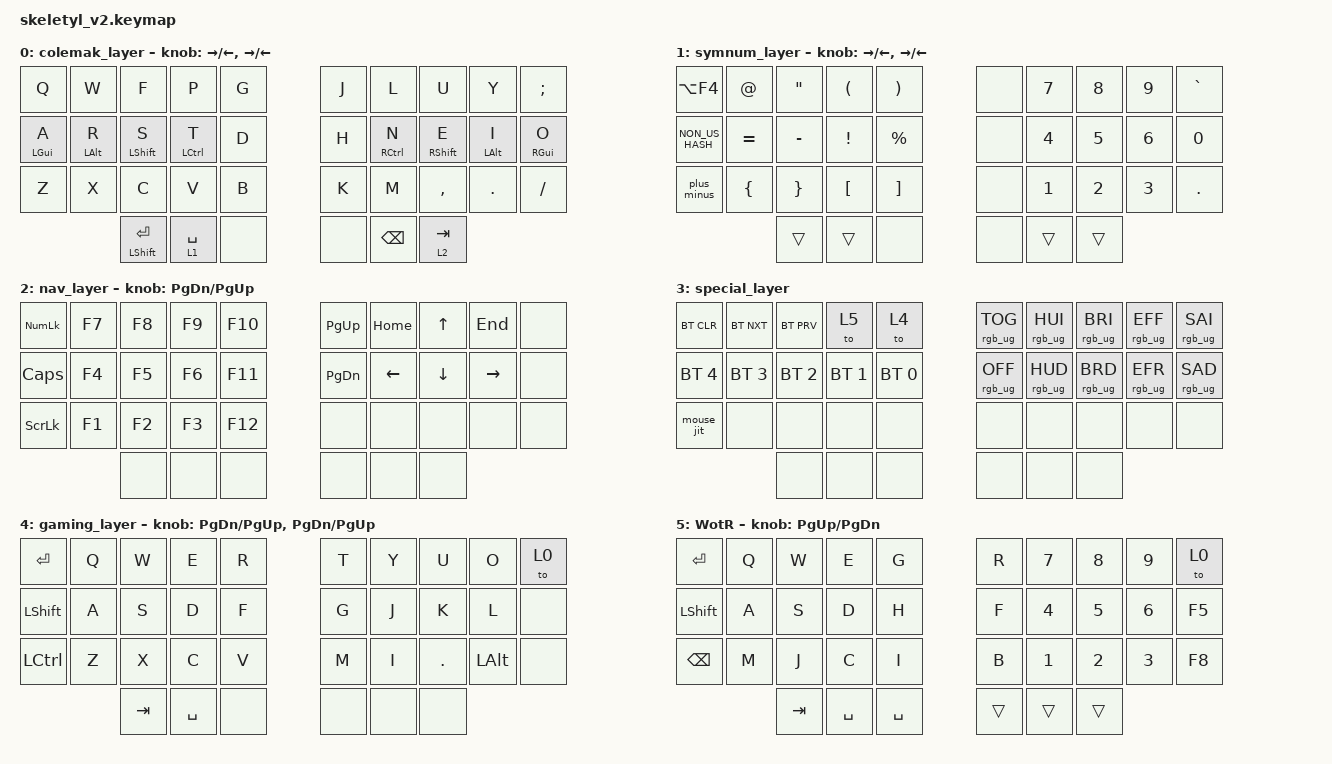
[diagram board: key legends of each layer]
/*
 * Copyright (c) 2020 The ZMK Contributors
 *
 * SPDX-License-Identifier: MIT
 */

#include <behaviors.dtsi>
#include <dt-bindings/zmk/bt.h>
#include <dt-bindings/zmk/keys.h>
#include <dt-bindings/zmk/rgb.h>

#define COLEMAK 0
#define SYMNUM 1
#define NAV 2
#define SPECIAL 3
#define GAMING 4

/ {
    combos {
        compatible = "zmk,combos";

        combo_esc {
            timeout-ms = <40>;
            key-positions = <1 2>;
            bindings = <&kp ESC>;
        };

        combo_underscore {
            timeout-ms = <35>;
            key-positions = <12 13>;
            bindings = <&kp UNDER>;
        };

        combo_quote {
            timeout-ms = <35>;
            key-positions = <17 18>;
            bindings = <&kp SQT>;
        };

        combo_del {
            timeout-ms = <40>;
            key-positions = <10 11>;
            bindings = <&kp DEL>;
        };

        combo_bslsh {
            timeout-ms = <40>;
            key-positions = <7 8>;
            bindings = <&kp NON_US_BSLH>;
        };

        combo_caps {
            timeout-ms = <40>;
            key-positions = <12 17>;
            bindings = <&caps_word>;
        };
    };
};

/ {
    chosen { zmk,battery = &vbatt; };

    vbatt: vbatt {
        compatible = "zmk,battery-nrf-vddh";
        label = "VBATT";
    };

    conditional_layers {
        compatible = "zmk,conditional-layers";

        tri_layer {
            if-layers = <1 2>;
            then-layer = <3>;
        };
    };

    behaviors {
        hm: homerow_mods {
            compatible = "zmk,behavior-hold-tap";
            label = "HOMEROW_MODS";
            #binding-cells = <2>;
            tapping-term-ms = <220>;
            quick-tap-ms = <125>;
            flavor = "tap-preferred";
            bindings = <&kp>, <&kp>;
        };
    };

    macros {
        plus_minus: plus_minus {
            compatible = "zmk,behavior-macro";
            label = "PLUS_MINUS";
            #binding-cells = <0>;
            bindings =
                <&macro_press>,
                <&kp LALT>,
                <&macro_tap>,
                <&kp KP_NUMBER_2 &kp KP_NUMBER_4 &kp KP_NUMBER_1>,
                <&macro_release>,
                <&kp LEFT_ALT>;
        };

        mouse_jit: mouse_jit {
            compatible = "zmk,behavior-macro";
            #binding-cells = <0>;
            bindings = <&macro_press>, <&kp A>, <&macro_wait_time 10000>;

            label = "MOUSE_JIT";
        };
    };

    keymap {
        compatible = "zmk,keymap";

        colemak_layer {
            bindings = <
&kp Q       &kp W       &kp F             &kp P        &kp G    &kp J  &kp L          &kp U        &kp Y       &kp SEMI
&hm LGUI A  &hm LALT R  &hm LSHFT S       &hm LCTRL T  &kp D    &kp H  &hm RCTRL N    &hm RSHFT E  &hm LALT I  &hm RGUI O
&kp Z       &kp X       &kp C             &kp V        &kp B    &kp K  &kp M          &kp COMMA    &kp DOT     &kp FSLH
                        &mt LSHIFT ENTER  &lt 1 SPACE  &none    &none  &kp BACKSPACE  &lt 2 TAB
            >;

            sensor-bindings = <&inc_dec_kp RIGHT LEFT &inc_dec_kp RIGHT LEFT>;
        };

        symnum_layer {
            bindings = <
&kp LA(F4)       &kp AT     &kp DQT    &kp LPAR  &kp RPAR     &none  &kp N7  &kp N8  &kp N9  &kp GRAVE
&kp NON_US_HASH  &kp EQUAL  &kp MINUS  &kp EXCL  &kp PRCNT    &none  &kp N4  &kp N5  &kp N6  &kp N0
&plus_minus      &kp LBRC   &kp RBRC   &kp LBKT  &kp RBKT     &none  &kp N1  &kp N2  &kp N3  &kp DOT
                            &trans     &trans    &none        &none  &trans  &trans
            >;

            sensor-bindings = <&inc_dec_kp RIGHT LEFT &inc_dec_kp RIGHT LEFT>;
        };

        nav_layer {
            bindings = <
&kp KP_NUMLOCK  &kp F7  &kp F8  &kp F9  &kp F10    &kp PG_UP  &kp HOME  &kp UP    &kp END    &none
&kp CAPSLOCK    &kp F4  &kp F5  &kp F6  &kp F11    &kp PG_DN  &kp LEFT  &kp DOWN  &kp RIGHT  &none
&kp SCROLLLOCK  &kp F1  &kp F2  &kp F3  &kp F12    &none      &none     &none     &none      &none
                        &none   &none   &none      &none      &none     &none
            >;

            sensor-bindings = <&inc_dec_kp PAGE_DOWN PG_UP>;
        };

        special_layer {
            bindings = <
&bt BT_CLR    &bt BT_NXT    &bt BT_PRV    &to 5         &to 4           &rgb_ug RGB_TOG  &rgb_ug RGB_HUI  &rgb_ug RGB_BRI  &rgb_ug RGB_EFF  &rgb_ug RGB_SAI
&bt BT_SEL 4  &bt BT_SEL 3  &bt BT_SEL 2  &bt BT_SEL 1  &bt BT_SEL 0    &rgb_ug RGB_OFF  &rgb_ug RGB_HUD  &rgb_ug RGB_BRD  &rgb_ug RGB_EFR  &rgb_ug RGB_SAD
&mouse_jit    &none         &none         &none         &none           &none            &none            &none            &none            &none
                            &none         &none         &none           &none            &none            &none
            >;
        };

        gaming_layer {
            bindings = <
&kp ENTER  &kp Q  &kp W    &kp E      &kp R    &kp T  &kp Y  &kp U    &kp O     &to 0
&kp LSHFT  &kp A  &kp S    &kp D      &kp F    &kp G  &kp J  &kp K    &kp L     &none
&kp LCTRL  &kp Z  &kp X    &kp C      &kp V    &kp M  &kp I  &kp DOT  &kp LALT  &none
                  &kp TAB  &kp SPACE  &none    &none  &none  &none
            >;

            sensor-bindings = <&inc_dec_kp PG_DN PG_UP &inc_dec_kp PG_DN PG_UP>;
        };

        WotR {
            bindings = <
&kp ENTER  &kp Q  &kp W    &kp E      &kp G        &kp R   &kp N7  &kp N8  &kp N9  &to 0
&kp LSHFT  &kp A  &kp S    &kp D      &kp H        &kp F   &kp N4  &kp N5  &kp N6  &kp F5
&kp BSPC   &kp M  &kp J    &kp C      &kp I        &kp B   &kp N1  &kp N2  &kp N3  &kp F8
                  &kp TAB  &kp SPACE  &kp SPACE    &trans  &trans  &trans
            >;

            sensor-bindings = <&inc_dec_kp PG_UP PG_DN>;
        };
    };
};
